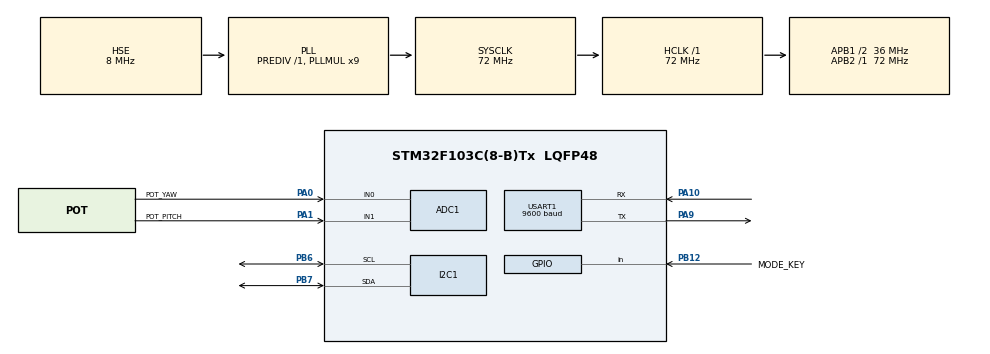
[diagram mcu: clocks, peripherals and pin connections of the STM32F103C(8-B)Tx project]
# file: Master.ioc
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ADC1.Channel-0\#ChannelRegularConversion=ADC_CHANNEL_0
ADC1.Channel-1\#ChannelRegularConversion=ADC_CHANNEL_1
ADC1.ContinuousConvMode=ENABLE
ADC1.NbrOfConversion=2
ADC1.NbrOfConversionFlag=1
ADC1.Rank-0\#ChannelRegularConversion=1
ADC1.Rank-1\#ChannelRegularConversion=2
ADC1.SamplingTime-0\#ChannelRegularConversion=ADC_SAMPLETIME_55CYCLES_5
ADC1.SamplingTime-1\#ChannelRegularConversion=ADC_SAMPLETIME_55CYCLES_5
ADC1.master=1
Dma.ADC1.0.Direction=DMA_PERIPH_TO_MEMORY
Dma.ADC1.0.Instance=DMA1_Channel1
Dma.ADC1.0.MemDataAlignment=DMA_MDATAALIGN_HALFWORD
Dma.ADC1.0.MemInc=DMA_MINC_ENABLE
Dma.ADC1.0.Mode=DMA_CIRCULAR
Dma.ADC1.0.PeriphDataAlignment=DMA_PDATAALIGN_HALFWORD
Dma.ADC1.0.PeriphInc=DMA_PINC_DISABLE
Dma.ADC1.0.Priority=DMA_PRIORITY_LOW
Dma.Request0=ADC1
FREERTOS.Tasks01=defaultTask,24,256,StartDefaultTask,Default,NULL,Dynamic,NULL,NULL
Mcu.Family=STM32F1
Mcu.Name=STM32F103C(8-B)Tx
Mcu.Package=LQFP48
NVIC.DMA1_Channel1_IRQn=true\:5\:0\:false\:false\:true\:true\:false\:true\:true
NVIC.PriorityGroup=NVIC_PRIORITYGROUP_4
NVIC.TIM4_IRQn=true\:15\:0\:false\:false\:true\:false\:false\:true\:true
NVIC.TimeBase=TIM4_IRQn
NVIC.TimeBaseIP=TIM4
PA0-WKUP.GPIO_Label=POT_YAW
PA0-WKUP.Signal=ADCx_IN0
PA1.GPIO_Label=POT_PITCH
PA1.Signal=ADCx_IN1
PA10.Mode=Asynchronous
PA10.Signal=USART1_RX
PA13.Mode=Serial_Wire
PA13.Signal=SYS_JTMS-SWDIO
PA14.Mode=Serial_Wire
PA14.Signal=SYS_JTCK-SWCLK
PA9.Mode=Asynchronous
PA9.Signal=USART1_TX
PB12.GPIO_Label=MODE_KEY
PB12.GPIO_Mode=GPIO_MODE_INPUT
PB12.GPIO_PuPd=GPIO_PULLUP
PB12.Signal=GPIO_Input
PB6.Mode=I2C
PB6.Signal=I2C1_SCL
PB7.Mode=I2C
PB7.Signal=I2C1_SDA
PD0-OSC_IN.Mode=HSE-External-Oscillator
PD0-OSC_IN.Signal=RCC_OSC_IN
PD1-OSC_OUT.Mode=HSE-External-Oscillator
PD1-OSC_OUT.Signal=RCC_OSC_OUT
ProjectManager.HeapSize=0x200
ProjectManager.StackSize=0x400
ProjectManager.TargetToolchain=CMake
RCC.ADCPresc=RCC_ADCPCLK2_DIV6
RCC.AHBFreq_Value=72000000
RCC.APB1CLKDivider=RCC_HCLK_DIV2
RCC.APB1Freq_Value=36000000
RCC.APB1TimFreq_Value=72000000
RCC.APB2Freq_Value=72000000
RCC.APB2TimFreq_Value=72000000
RCC.HCLKFreq_Value=72000000
RCC.PLLMUL=RCC_PLL_MUL9
RCC.PLLSourceVirtual=RCC_PLLSOURCE_HSE
RCC.SYSCLKFreq_VALUE=72000000
RCC.SYSCLKSource=RCC_SYSCLKSOURCE_PLLCLK
RCC.USBFreq_Value=72000000
SH.ADCx_IN0.0=ADC1_IN0,IN0
SH.ADCx_IN1.0=ADC1_IN1,IN1
USART1.BaudRate=9600
USART1.VirtualMode=VM_ASYNC
VP_FREERTOS_VS_CMSIS_V2.Mode=CMSIS_V2
VP_SYS_VS_tim4.Mode=TIM4
board=custom

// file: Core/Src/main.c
/* USER CODE BEGIN Header */
/**
  ******************************************************************************
  * @file           : main.c
  * @brief          : Main program body
  ******************************************************************************
  * @attention
  *
  * Copyright (c) 2026 STMicroelectronics.
  * All rights reserved.
  *
  * This software is licensed under terms that can be found in the LICENSE file
  * in the root directory of this software component.
  * If no LICENSE file comes with this software, it is provided AS-IS.
  *
  ******************************************************************************
  */
/* USER CODE END Header */
#include "main.h"
#include "cmsis_os.h"

/* USER CODE BEGIN Includes */
#include <math.h>
/* USER CODE END Includes */

/* USER CODE BEGIN PD */

#define MPU6050_ADDR            (0x68 << 1)
#define MPU6050_PWR_MGMT_1      0x6B
#define MPU6050_GYRO_CONFIG     0x1B
#define MPU6050_ACCEL_CONFIG    0x1C
#define MPU6050_ACCEL_XOUT_H    0x3B

#define CONTROL_DT              0.02f
#define RAD_TO_DEG              57.2957795f
#define COMP_ALPHA              0.98f

#define MODE_POT                0
#define MODE_IMU                1

#define SERVO_CENTER_DEG        90.0f
#define SERVO_MIN_DEG           0.0f
#define SERVO_MAX_DEG           180.0f

/* USER CODE END PD */

ADC_HandleTypeDef hadc1;
DMA_HandleTypeDef hdma_adc1;

I2C_HandleTypeDef hi2c1;

UART_HandleTypeDef huart1;

/* Definitions for defaultTask */
osThreadId_t defaultTaskHandle;
const osThreadAttr_t defaultTask_attributes = {
  .name = "defaultTask",
  .stack_size = 256 * 4,
  .priority = (osPriority_t) osPriorityNormal,
};
/* USER CODE BEGIN PV */
volatile uint16_t adc_value[2] = {0, 0};

volatile uint16_t pot_yaw = 0;
volatile uint16_t pot_pitch = 0;

volatile uint8_t mpu_whoami = 0;
volatile HAL_StatusTypeDef mpu_status;
volatile uint8_t mpu_init_ok = 0;

volatile int16_t accel_x = 0;
volatile int16_t accel_y = 0;
volatile int16_t accel_z = 0;
volatile int16_t temperature_raw = 0;
volatile int16_t gyro_x = 0;
volatile int16_t gyro_y = 0;
volatile int16_t gyro_z = 0;

volatile float accel_x_g = 0.0f;
volatile float accel_y_g = 0.0f;
volatile float accel_z_g = 0.0f;

volatile float gyro_x_dps = 0.0f;
volatile float gyro_y_dps = 0.0f;
volatile float gyro_z_dps = 0.0f;

volatile float gyro_bias_x = 0.0f;
volatile float gyro_bias_y = 0.0f;
volatile float gyro_bias_z = 0.0f;

volatile float accel_roll_deg = 0.0f;
volatile float accel_pitch_deg = 0.0f;

volatile float roll_deg = 0.0f;
volatile float pitch_deg = 0.0f;
volatile float yaw_deg = 0.0f;

volatile uint8_t control_mode = MODE_POT;

volatile float target_yaw_deg = 90.0f;
volatile float target_pitch_deg = 90.0f;

volatile float imu_yaw_zero = 0.0f;
volatile float imu_pitch_zero = 0.0f;

volatile uint8_t wireless_tx_divider = 0;
/* USER CODE END PV */

void SystemClock_Config(void);
static void MX_GPIO_Init(void);
static void MX_DMA_Init(void);
static void MX_ADC1_Init(void);
static void MX_I2C1_Init(void);
static void MX_USART1_UART_Init(void);
void StartDefaultTask(void *argument);

/* USER CODE BEGIN PFP */
static HAL_StatusTypeDef MPU6050_Init(void);
static HAL_StatusTypeDef MPU6050_ReadRaw(void);
static void MPU6050_CalibrateGyro(void);
static void Attitude_Init(void);
static void Attitude_Update(void);
static void Mode_Update(void);
static float ClampFloat(float value, float min_value, float max_value);
static void Wireless_SendTargets(void);
/* USER CODE END PFP */

/* USER CODE BEGIN 0 */

static float ClampFloat(float value, float min_value, float max_value)
{
  if (value < min_value) return min_value;
  if (value > max_value) return max_value;
  return value;
}

static HAL_StatusTypeDef MPU6050_Init(void)
{
  uint8_t data;

  if (HAL_I2C_Mem_Read(&hi2c1,
                       MPU6050_ADDR,
                       0x75,
                       I2C_MEMADD_SIZE_8BIT,
                       (uint8_t *)&mpu_whoami,
                       1,
                       100) != HAL_OK)
  {
    return HAL_ERROR;
  }

  if (mpu_whoami != 0x68)
  {
    return HAL_ERROR;
  }

  data = 0x00;
  if (HAL_I2C_Mem_Write(&hi2c1,
                        MPU6050_ADDR,
                        MPU6050_PWR_MGMT_1,
                        I2C_MEMADD_SIZE_8BIT,
                        &data,
                        1,
                        100) != HAL_OK)
  {
    return HAL_ERROR;
  }

  osDelay(100);

  data = 0x00;
  if (HAL_I2C_Mem_Write(&hi2c1,
                        MPU6050_ADDR,
                        MPU6050_GYRO_CONFIG,
                        I2C_MEMADD_SIZE_8BIT,
                        &data,
                        1,
                        100) != HAL_OK)
  {
    return HAL_ERROR;
  }

  data = 0x00;
  if (HAL_I2C_Mem_Write(&hi2c1,
                        MPU6050_ADDR,
                        MPU6050_ACCEL_CONFIG,
                        I2C_MEMADD_SIZE_8BIT,
                        &data,
                        1,
                        100) != HAL_OK)
  {
    return HAL_ERROR;
  }

  return HAL_OK;
}

static HAL_StatusTypeDef MPU6050_ReadRaw(void)
{
  uint8_t buf[14];

  HAL_StatusTypeDef status = HAL_I2C_Mem_Read(&hi2c1,
                                               MPU6050_ADDR,
                                               MPU6050_ACCEL_XOUT_H,
                                               I2C_MEMADD_SIZE_8BIT,
                                               buf,
                                               14,
                                               100);

  if (status != HAL_OK)
  {
    return status;
  }

  accel_x = (int16_t)((buf[0] << 8) | buf[1]);
  accel_y = (int16_t)((buf[2] << 8) | buf[3]);
  accel_z = (int16_t)((buf[4] << 8) | buf[5]);

  temperature_raw = (int16_t)((buf[6] << 8) | buf[7]);

  gyro_x = (int16_t)((buf[8] << 8) | buf[9]);
  gyro_y = (int16_t)((buf[10] << 8) | buf[11]);
  gyro_z = (int16_t)((buf[12] << 8) | buf[13]);

  accel_x_g = (float)accel_x / 16384.0f;
  accel_y_g = (float)accel_y / 16384.0f;
  accel_z_g = (float)accel_z / 16384.0f;

  gyro_x_dps = (float)gyro_x / 131.0f;
  gyro_y_dps = (float)gyro_y / 131.0f;
  gyro_z_dps = (float)gyro_z / 131.0f;

  return HAL_OK;
}

static void MPU6050_CalibrateGyro(void)
{
  const uint16_t samples = 500;
  float sum_x = 0.0f;
  float sum_y = 0.0f;
  float sum_z = 0.0f;
  uint16_t valid_samples = 0;

  for (uint16_t i = 0; i < samples; i++)
  {
    if (MPU6050_ReadRaw() == HAL_OK)
    {
      sum_x += gyro_x_dps;
      sum_y += gyro_y_dps;
      sum_z += gyro_z_dps;
      valid_samples++;
    }

    osDelay(2);
  }

  if (valid_samples > 0)
  {
    gyro_bias_x = sum_x / (float)valid_samples;
    gyro_bias_y = sum_y / (float)valid_samples;
    gyro_bias_z = sum_z / (float)valid_samples;
  }
}

static void Attitude_Init(void)
{
  if (MPU6050_ReadRaw() != HAL_OK)
  {
    return;
  }

  accel_roll_deg = atan2f(accel_y_g, accel_z_g) * RAD_TO_DEG;

  accel_pitch_deg = atan2f(-accel_x_g,
                          sqrtf(accel_y_g * accel_y_g +
                                accel_z_g * accel_z_g)) * RAD_TO_DEG;

  roll_deg = accel_roll_deg;
  pitch_deg = accel_pitch_deg;
  yaw_deg = 0.0f;

  imu_yaw_zero = yaw_deg;
  imu_pitch_zero = pitch_deg;
}

static void Attitude_Update(void)
{
  static uint32_t last_sample_tick = 0;
  static uint8_t have_last_sample = 0;

  float gx;
  float gy;
  float gz;
  float dt = CONTROL_DT;

  if (MPU6050_ReadRaw() != HAL_OK)
  {
    return;
  }

  uint32_t now = HAL_GetTick();

  if (have_last_sample)
  {
    uint32_t elapsed_ms = now - last_sample_tick;
    last_sample_tick = now;

    if (elapsed_ms == 0U)
    {
      return;
    }

    if (elapsed_ms > 100U)
    {
      return;
    }

    dt = (float)elapsed_ms * 0.001f;
  }
  else
  {
    last_sample_tick = now;
    have_last_sample = 1U;
  }

  gx = gyro_x_dps - gyro_bias_x;
  gy = gyro_y_dps - gyro_bias_y;
  gz = gyro_z_dps - gyro_bias_z;

  accel_roll_deg = atan2f(accel_y_g, accel_z_g) * RAD_TO_DEG;

  accel_pitch_deg = atan2f(-accel_x_g,
                          sqrtf(accel_y_g * accel_y_g +
                                accel_z_g * accel_z_g)) * RAD_TO_DEG;

  roll_deg =
      COMP_ALPHA * (roll_deg + gx * dt)
      + (1.0f - COMP_ALPHA) * accel_roll_deg;

  pitch_deg =
      COMP_ALPHA * (pitch_deg + gy * dt)
      + (1.0f - COMP_ALPHA) * accel_pitch_deg;

  yaw_deg += gz * dt;
}

static void Mode_Update(void)
{
  static GPIO_PinState last_key = GPIO_PIN_SET;
  static uint32_t last_switch_tick = 0;

  GPIO_PinState key = HAL_GPIO_ReadPin(MODE_KEY_GPIO_Port, MODE_KEY_Pin);

  if ((key == GPIO_PIN_RESET) &&
      (last_key == GPIO_PIN_SET) &&
      ((HAL_GetTick() - last_switch_tick) > 200))
  {
    last_switch_tick = HAL_GetTick();

    if (control_mode == MODE_POT)
    {
      control_mode = MODE_IMU;
      imu_yaw_zero = yaw_deg;
      imu_pitch_zero = pitch_deg;
    }
    else
    {
      control_mode = MODE_POT;
    }
  }

  last_key = key;

  if (control_mode == MODE_POT)
  {
    target_yaw_deg =
        ((float)pot_yaw * 180.0f) / 4095.0f;

    target_pitch_deg =
        ((float)pot_pitch * 180.0f) / 4095.0f;
  }
  else
  {
    float relative_yaw = yaw_deg - imu_yaw_zero;
    float relative_pitch = pitch_deg - imu_pitch_zero;

    target_yaw_deg =
        ClampFloat(SERVO_CENTER_DEG + relative_yaw,
                   SERVO_MIN_DEG,
                   SERVO_MAX_DEG);

    target_pitch_deg =
        ClampFloat(SERVO_CENTER_DEG + relative_pitch,
                   SERVO_MIN_DEG,
                   SERVO_MAX_DEG);
  }
}

static void Wireless_SendTargets(void)
{
  uint8_t frame[5];

  float yaw = ClampFloat(target_yaw_deg, 0.0f, 180.0f);
  float pitch = ClampFloat(target_pitch_deg, 0.0f, 180.0f);

  frame[0] = 0xAA;
  frame[1] = (uint8_t)(yaw + 0.5f);
  frame[2] = (uint8_t)(pitch + 0.5f);
  frame[3] = control_mode;
  frame[4] = frame[0] ^ frame[1] ^ frame[2] ^ frame[3];

  HAL_UART_Transmit(&huart1, frame, sizeof(frame), 20);
}

/* USER CODE END 0 */

int main(void)
{

  HAL_Init();

  SystemClock_Config();

  MX_GPIO_Init();
  MX_DMA_Init();
  MX_ADC1_Init();
  MX_I2C1_Init();
  MX_USART1_UART_Init();

  osKernelInitialize();

  defaultTaskHandle = osThreadNew(StartDefaultTask, NULL, &defaultTask_attributes);

  osKernelStart();

  while (1)
  {

  }
}

void SystemClock_Config(void)
{
  RCC_OscInitTypeDef RCC_OscInitStruct = {0};
  RCC_ClkInitTypeDef RCC_ClkInitStruct = {0};
  RCC_PeriphCLKInitTypeDef PeriphClkInit = {0};

  RCC_OscInitStruct.OscillatorType = RCC_OSCILLATORTYPE_HSE;
  RCC_OscInitStruct.HSEState = RCC_HSE_ON;
  RCC_OscInitStruct.HSEPredivValue = RCC_HSE_PREDIV_DIV1;
  RCC_OscInitStruct.HSIState = RCC_HSI_ON;
  RCC_OscInitStruct.PLL.PLLState = RCC_PLL_ON;
  RCC_OscInitStruct.PLL.PLLSource = RCC_PLLSOURCE_HSE;
  RCC_OscInitStruct.PLL.PLLMUL = RCC_PLL_MUL9;
  if (HAL_RCC_OscConfig(&RCC_OscInitStruct) != HAL_OK)
  {
    Error_Handler();
  }

  RCC_ClkInitStruct.ClockType = RCC_CLOCKTYPE_HCLK|RCC_CLOCKTYPE_SYSCLK
                              |RCC_CLOCKTYPE_PCLK1|RCC_CLOCKTYPE_PCLK2;
  RCC_ClkInitStruct.SYSCLKSource = RCC_SYSCLKSOURCE_PLLCLK;
  RCC_ClkInitStruct.AHBCLKDivider = RCC_SYSCLK_DIV1;
  RCC_ClkInitStruct.APB1CLKDivider = RCC_HCLK_DIV2;
  RCC_ClkInitStruct.APB2CLKDivider = RCC_HCLK_DIV1;

  if (HAL_RCC_ClockConfig(&RCC_ClkInitStruct, FLASH_LATENCY_2) != HAL_OK)
  {
    Error_Handler();
  }
  PeriphClkInit.PeriphClockSelection = RCC_PERIPHCLK_ADC;
  PeriphClkInit.AdcClockSelection = RCC_ADCPCLK2_DIV6;
  if (HAL_RCCEx_PeriphCLKConfig(&PeriphClkInit) != HAL_OK)
  {
    Error_Handler();
  }
}

static void MX_ADC1_Init(void)
{

  ADC_ChannelConfTypeDef sConfig = {0};

  /** Common config
  */
  hadc1.Instance = ADC1;
  hadc1.Init.ScanConvMode = ADC_SCAN_ENABLE;
  hadc1.Init.ContinuousConvMode = ENABLE;
  hadc1.Init.DiscontinuousConvMode = DISABLE;
  hadc1.Init.ExternalTrigConv = ADC_SOFTWARE_START;
  hadc1.Init.DataAlign = ADC_DATAALIGN_RIGHT;
  hadc1.Init.NbrOfConversion = 2;
  if (HAL_ADC_Init(&hadc1) != HAL_OK)
  {
    Error_Handler();
  }

  /** Configure Regular Channel
  */
  sConfig.Channel = ADC_CHANNEL_0;
  sConfig.Rank = ADC_REGULAR_RANK_1;
  sConfig.SamplingTime = ADC_SAMPLETIME_55CYCLES_5;
  if (HAL_ADC_ConfigChannel(&hadc1, &sConfig) != HAL_OK)
  {
    Error_Handler();
  }

  /** Configure Regular Channel
  */
  sConfig.Channel = ADC_CHANNEL_1;
  sConfig.Rank = ADC_REGULAR_RANK_2;
  if (HAL_ADC_ConfigChannel(&hadc1, &sConfig) != HAL_OK)
  {
    Error_Handler();
  }

}

static void MX_I2C1_Init(void)
{

  hi2c1.Instance = I2C1;
  hi2c1.Init.ClockSpeed = 100000;
  hi2c1.Init.DutyCycle = I2C_DUTYCYCLE_2;
  hi2c1.Init.OwnAddress1 = 0;
  hi2c1.Init.AddressingMode = I2C_ADDRESSINGMODE_7BIT;
  hi2c1.Init.DualAddressMode = I2C_DUALADDRESS_DISABLE;
  hi2c1.Init.OwnAddress2 = 0;
  hi2c1.Init.GeneralCallMode = I2C_GENERALCALL_DISABLE;
  hi2c1.Init.NoStretchMode = I2C_NOSTRETCH_DISABLE;
  if (HAL_I2C_Init(&hi2c1) != HAL_OK)
  {
    Error_Handler();
  }

}

static void MX_USART1_UART_Init(void)
{

  huart1.Instance = USART1;
  huart1.Init.BaudRate = 9600;
  huart1.Init.WordLength = UART_WORDLENGTH_8B;
  huart1.Init.StopBits = UART_STOPBITS_1;
  huart1.Init.Parity = UART_PARITY_NONE;
  huart1.Init.Mode = UART_MODE_TX_RX;
  huart1.Init.HwFlowCtl = UART_HWCONTROL_NONE;
  huart1.Init.OverSampling = UART_OVERSAMPLING_16;
  if (HAL_UART_Init(&huart1) != HAL_OK)
  {
    Error_Handler();
  }

}

static void MX_DMA_Init(void)
{

  __HAL_RCC_DMA1_CLK_ENABLE();

  HAL_NVIC_SetPriority(DMA1_Channel1_IRQn, 5, 0);
  HAL_NVIC_EnableIRQ(DMA1_Channel1_IRQn);

}

static void MX_GPIO_Init(void)
{
  GPIO_InitTypeDef GPIO_InitStruct = {0};

  __HAL_RCC_GPIOD_CLK_ENABLE();
  __HAL_RCC_GPIOA_CLK_ENABLE();
  __HAL_RCC_GPIOB_CLK_ENABLE();

  GPIO_InitStruct.Pin = MODE_KEY_Pin;
  GPIO_InitStruct.Mode = GPIO_MODE_INPUT;
  GPIO_InitStruct.Pull = GPIO_PULLUP;
  HAL_GPIO_Init(MODE_KEY_GPIO_Port, &GPIO_InitStruct);

}

void StartDefaultTask(void *argument)
{
  /* USER CODE BEGIN 5 */

  if (HAL_ADCEx_Calibration_Start(&hadc1) != HAL_OK)
  {
    Error_Handler();
  }

  if (HAL_ADC_Start_DMA(&hadc1, (uint32_t *)adc_value, 2) != HAL_OK)
  {
    Error_Handler();
  }

  __HAL_DMA_DISABLE_IT(&hdma_adc1, DMA_IT_HT | DMA_IT_TC);

  mpu_status = MPU6050_Init();
  mpu_init_ok = (mpu_status == HAL_OK) ? 1 : 0;

  if (mpu_init_ok)
  {
    MPU6050_CalibrateGyro();
    Attitude_Init();
  }

  for (;;)
  {
    pot_yaw = adc_value[0];
    pot_pitch = adc_value[1];

    if (mpu_init_ok)
    {
      Attitude_Update();
    }

    Mode_Update();

    wireless_tx_divider++;
    if (wireless_tx_divider >= 3)
    {
      wireless_tx_divider = 0;
      Wireless_SendTargets();
    }

    osDelay(20);
  }

  /* USER CODE END 5 */
}

void HAL_TIM_PeriodElapsedCallback(TIM_HandleTypeDef *htim)
{
  if (htim->Instance == TIM4)
  {
    HAL_IncTick();
  }
}

void Error_Handler(void)
{
  __disable_irq();
  while (1)
  {
  }
}
